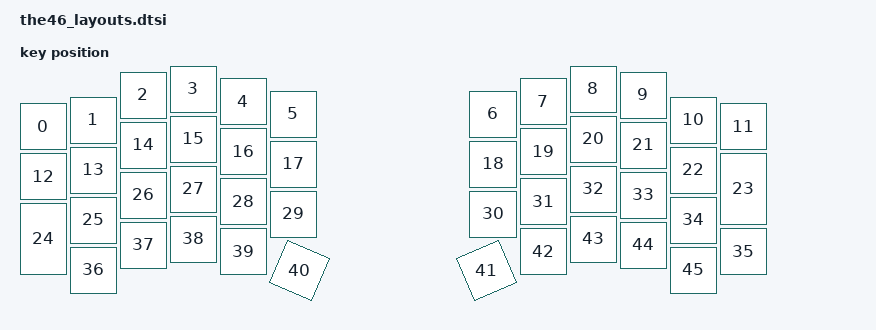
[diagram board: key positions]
#include <physical_layouts.dtsi>

/ {
    physical_layout0: physical_layout_0 { 
        display-name = "Default Layout";
        compatible = "zmk,physical-layout";
        kscan = <&kscan0>; 
        transform = <&default_transform>;
        keys  //                     w   h    x    y     rot    rx    ry
            = <&key_physical_attrs 100 100    0   75       0     0     0>
            , <&key_physical_attrs 100 100  100   62       0     0     0>
            , <&key_physical_attrs 100 100  200   12       0     0     0>
            , <&key_physical_attrs 100 100  300    0       0     0     0>
            , <&key_physical_attrs 100 100  400   25       0     0     0>
            , <&key_physical_attrs 100 100  500   50       0     0     0>
            , <&key_physical_attrs 100 100  900   50       0     0     0>
            , <&key_physical_attrs 100 100 1000   25       0     0     0>
            , <&key_physical_attrs 100 100 1100    0       0     0     0>
            , <&key_physical_attrs 100 100 1200   12       0     0     0>
            , <&key_physical_attrs 100 100 1300   62       0     0     0>
            , <&key_physical_attrs 100 100 1400   75       0     0     0>
            , <&key_physical_attrs 100 100    0  175       0     0     0>
            , <&key_physical_attrs 100 100  100  162       0     0     0>
            , <&key_physical_attrs 100 100  200  112       0     0     0>
            , <&key_physical_attrs 100 100  300  100       0     0     0>
            , <&key_physical_attrs 100 100  400  125       0     0     0>
            , <&key_physical_attrs 100 100  500  150       0     0     0>
            , <&key_physical_attrs 100 100  900  150       0     0     0>
            , <&key_physical_attrs 100 100 1000  125       0     0     0>
            , <&key_physical_attrs 100 100 1100  100       0     0     0>
            , <&key_physical_attrs 100 100 1200  112       0     0     0>
            , <&key_physical_attrs 100 100 1300  162       0     0     0>
            , <&key_physical_attrs 100 150 1400  175       0     0     0>
            , <&key_physical_attrs 100 150    0  275       0     0     0>
            , <&key_physical_attrs 100 100  100  262       0     0     0>
            , <&key_physical_attrs 100 100  200  212       0     0     0>
            , <&key_physical_attrs 100 100  300  200       0     0     0>
            , <&key_physical_attrs 100 100  400  225       0     0     0>
            , <&key_physical_attrs 100 100  500  250       0     0     0>
            , <&key_physical_attrs 100 100  900  250       0     0     0>
            , <&key_physical_attrs 100 100 1000  225       0     0     0>
            , <&key_physical_attrs 100 100 1100  200       0     0     0>
            , <&key_physical_attrs 100 100 1200  212       0     0     0>
            , <&key_physical_attrs 100 100 1300  262       0     0     0>
            , <&key_physical_attrs 100 100 1400  325       0     0     0>
            , <&key_physical_attrs 100 100  100  362       0     0     0>
            , <&key_physical_attrs 100 100  200  312       0     0     0>
            , <&key_physical_attrs 100 100  300  300       0     0     0>
            , <&key_physical_attrs 100 100  400  325       0     0     0>
            , <&key_physical_attrs 100 100  513  363    2400   563   413>
            , <&key_physical_attrs 100 100  887  363 (-2400)   937   413>
            , <&key_physical_attrs 100 100 1000  325       0     0     0>
            , <&key_physical_attrs 100 100 1100  300       0     0     0>
            , <&key_physical_attrs 100 100 1200  312       0     0     0>
            , <&key_physical_attrs 100 100 1300  362       0     0     0>
            ;
    };

    chosen {
        zmk,physical-layout = &physical_layout0;
    };
};
